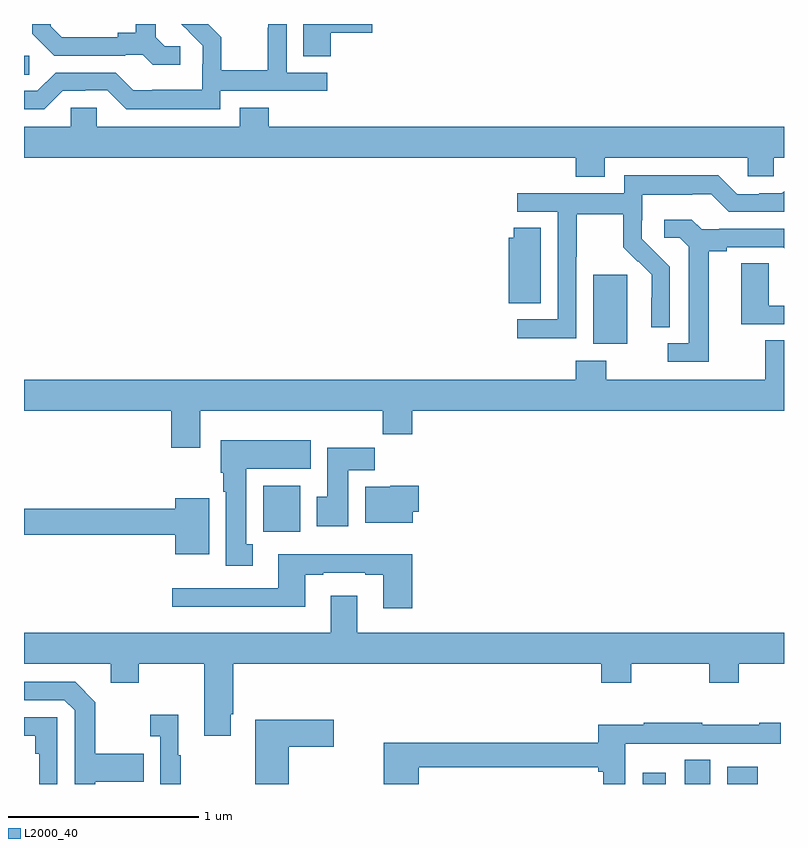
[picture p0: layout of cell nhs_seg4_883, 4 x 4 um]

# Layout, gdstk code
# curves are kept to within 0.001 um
import gdstk
lib = gdstk.Library(unit=1e-6, precision=1e-09)
def R(c, l, rs):  # rectangles x0, y0, x1, y1
    for r in rs: c.add(gdstk.rectangle(r[:2], r[2:], *l))
def P(c, l, *ps):  # polygons
    for p in ps: c.add(gdstk.Polygon(p, *l))
L2000_40 = (2000, 40)

nhs_seg4_883 = lib.new_cell('nhs_seg4_883')
R(nhs_seg4_883, L2000_40, [(160.256,750.9,160.378,750.958), (160.478,750.9,160.612,751.028), (160.7,750.9,160.861,750.991), (158.258,752.228,158.455,752.47), (159.995,753.218,160.174,753.579), (157,754.633,157.027,754.734)])
P(nhs_seg4_883, L2000_40, [(158.034,754.548),(158.596,754.548),(158.596,754.644),(158.382,754.644),(158.382,754.9),(158.286,754.9),(158.286,754.88),(158.284,754.88),(158.284,754.657),(158.039,754.657),(158.039,754.831),(157.97,754.9),(157.828,754.9),(157.94,754.786),(157.94,754.689),(157.938,754.689),(157.938,754.555),(157.675,754.555),(157.675,754.551),(157.575,754.551),(157.482,754.644),(157.167,754.644),(157.071,754.548),(157,754.548),(157,754.452),(157.107,754.452),(157.203,754.548),(157.322,754.548),(157.322,754.551),(157.437,754.551),(157.537,754.451),(158.034,754.451)],
  [(157.822,754.782),(157.74,754.782),(157.693,754.829),(157.693,754.9),(157.589,754.9),(157.589,754.853),(157.493,754.853),(157.493,754.83),(157.198,754.83),(157.141,754.887),(157.141,754.9),(157.044,754.9),(157.044,754.85),(157.16,754.734),(157.532,754.734),(157.532,754.737),(157.626,754.737),(157.678,754.685),(157.822,754.685)],
  [(158.615,754.853),(158.833,754.853),(158.833,754.9),(158.471,754.9),(158.471,754.729),(158.615,754.729)],
  [(160.057,754.196),(160.809,754.196),(160.809,754.098),(160.947,754.098),(160.947,754.196),(161,754.196),(161,754.36),(158.288,754.36),(158.288,754.459),(158.135,754.459),(158.135,754.36),(157.383,754.36),(157.383,754.458),(157.245,754.458),(157.245,754.36),(157,754.36),(157,754.196),(159.905,754.196),(159.905,754.097),(160.057,754.097)],
  [(159.906,753.676),(159.909,753.676),(159.909,753.9),(160.153,753.9),(160.153,753.725),(160.23,753.648),(160.233,753.651),(160.304,753.581),(160.304,753.458),(160.302,753.458),(160.302,753.304),(160.398,753.304),(160.398,753.622),(160.252,753.77),(160.252,753.867),(160.254,753.867),(160.254,754.001),(160.517,754.001),(160.517,754.005),(160.617,754.005),(160.71,753.912),(161,753.912),(161,754.019),(160.989,754.008),(160.871,754.008),(160.871,754.005),(160.755,754.005),(160.655,754.105),(160.158,754.105),(160.158,754.008),(159.597,754.008),(159.597,753.912),(159.81,753.912),(159.81,753.345),(159.597,753.345),(159.597,753.247),(159.906,753.247)],
  [(160.603,753.704),(160.699,753.704),(160.699,753.726),(160.994,753.726),(161,753.72),(161,753.822),(160.66,753.822),(160.66,753.819),(160.566,753.819),(160.514,753.871),(160.371,753.871),(160.371,753.774),(160.452,753.774),(160.499,753.727),(160.499,753.219),(160.389,753.219),(160.389,753.123),(160.603,753.123)],
  [(159.721,753.827),(159.578,753.827),(159.578,753.774),(159.551,753.774),(159.551,753.43),(159.721,753.43)],
  [(161,753.417),(160.92,753.417),(160.92,753.641),(160.775,753.641),(160.775,753.321),(161,753.321)],
  [(157.927,752.864),(158.887,752.864),(158.887,752.74),(159.044,752.74),(159.044,752.864),(161,752.864),(161,753.236),(160.901,753.236),(160.901,753.028),(160.065,753.028),(160.065,753.127),(159.905,753.127),(159.905,753.028),(157,753.028),(157,752.864),(157.775,752.864),(157.775,752.67),(157.927,752.67)],
  [(158.203,752.162),(158.17,752.162),(158.17,752.558),(158.509,752.558),(158.509,752.71),(158.036,752.71),(158.036,752.538),(158.048,752.538),(158.048,752.438),(158.063,752.438),(158.063,752.049),(158.203,752.049)],
  [(158.707,752.552),(158.846,752.552),(158.846,752.671),(158.597,752.671),(158.597,752.412),(158.54,752.412),(158.54,752.256),(158.707,752.256)],
  [(159.046,752.334),(159.077,752.334),(159.077,752.47),(158.928,752.47),(158.928,752.464),(158.795,752.464),(158.795,752.276),(159.046,752.276)],
  [(157.975,752.404),(157.796,752.404),(157.796,752.348),(157,752.348),(157,752.212),(157.796,752.212),(157.796,752.108),(157.975,752.108)],
  [(159.044,752.11),(158.339,752.11),(158.339,751.929),(157.779,751.929),(157.779,751.832),(158.479,751.832),(158.479,752.001),(158.575,752.001),(158.575,752.013),(158.795,752.013),(158.795,752.001),(158.891,752.001),(158.891,751.824),(159.044,751.824)],
  [(158.089,751.267),(158.102,751.267),(158.102,751.532),(160.037,751.532),(160.037,751.433),(160.197,751.433),(160.197,751.532),(160.606,751.532),(160.606,751.433),(160.761,751.433),(160.761,751.532),(161,751.532),(161,751.696),(158.755,751.696),(158.755,751.891),(158.615,751.891),(158.615,751.696),(157,751.696),(157,751.532),(157.457,751.532),(157.457,751.433),(157.605,751.433),(157.605,751.532),(157.949,751.532),(157.949,751.155),(158.089,751.155)],
  [(157.375,750.911),(157.631,750.911),(157.631,751.059),(157.375,751.059),(157.375,751.331),(157.269,751.437),(157,751.437),(157,751.341),(157.212,751.341),(157.266,751.287),(157.266,750.9),(157.375,750.9)],
  [(157.825,751.051),(157.813,751.051),(157.813,751.264),(157.665,751.264),(157.665,751.151),(157.716,751.151),(157.716,750.9),(157.825,750.9)],
  [(157.176,751.251),(157,751.251),(157,751.155),(157.06,751.155),(157.06,751.058),(157.08,751.058),(157.08,750.9),(157.176,750.9)],
  [(158.393,751.097),(158.629,751.097),(158.629,751.239),(158.218,751.239),(158.218,750.9),(158.393,750.9)],
  [(159.077,750.988),(160.022,750.988),(160.022,750.965),(160.048,750.965),(160.048,750.9),(160.164,750.9),(160.164,751.112),(160.374,751.112),(160.374,751.113),(160.984,751.113),(160.984,751.222),(160.871,751.222),(160.871,751.212),(160.571,751.212),(160.571,751.222),(160.261,751.222),(160.261,751.212),(160.022,751.212),(160.022,751.117),(158.894,751.117),(158.894,750.9),(159.077,750.9)])

lib.write_gds('nhs_seg4_883.gds')
